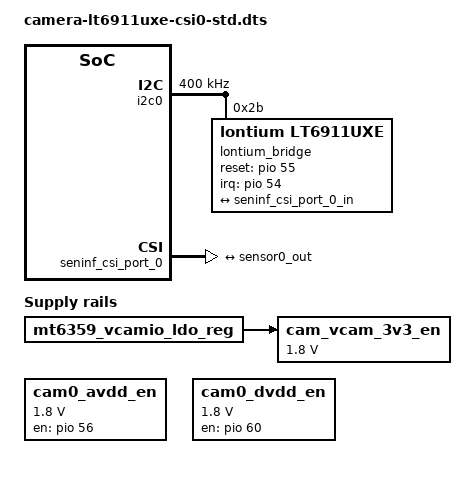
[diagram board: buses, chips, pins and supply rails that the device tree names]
// SPDX-License-Identifier: GPL-2.0
/*
 * Copyright (c) 2024 MediaTek Inc.
 *
 */

#include <dt-bindings/clock/mt8195-clk.h>
#include <dt-bindings/gpio/gpio.h>
#include <dt-bindings/pinctrl/mt8195-pinfunc.h>
#include <dt-bindings/interrupt-controller/irq.h>

/dts-v1/;
/plugin/;

#include "isp70.dtsi"

#include "isp70.dtsi"

/ {
	fragment@3 {
		target-path = "/";
		__overlay__ {
			cam0_avdd_en: cam0-avdd-en-regulator {
				compatible = "regulator-fixed";
				regulator-name = "cam0_avdd_en";
				regulator-min-microvolt = <1800000>;
				regulator-max-microvolt = <1800000>;
				gpio = <&pio 56 0>;
				startup-delay-us = <18000>;
				enable-active-high;
				regulator-always-on;
				pinctrl-names = "default";
				pinctrl-0 = <&cam0_avdd_en_pins>;
			};

			cam0_dvdd_en: cam0-dvdd-en-regulator {
				compatible = "regulator-fixed";
				regulator-name = "cam0_dvdd_en";
				regulator-min-microvolt = <1800000>;
				regulator-max-microvolt = <1800000>;
				gpio = <&pio 60 0>;
				startup-delay-us = <18000>;
				enable-active-high;
				regulator-always-on;
				pinctrl-names = "default";
				pinctrl-0 = <&cam0_dvdd_en_pins>;
			};

			cam_vcam_3v3_en: cam-vcam-3v3-en-regulator {
				compatible = "regulator-fixed";
				regulator-name = "cam_vcam_3v3_en";
				regulator-min-microvolt = <1800000>;
				regulator-max-microvolt = <1800000>;
				vin-supply = <&mt6359_vcamio_ldo_reg>;
				enable-active-high;
				regulator-always-on;
			};
		};
	};

	fragment@4 {
		target = <&pio>;
		__overlay__ {
			cam0_pins_default: cam0_pins_default {
				pins_cmd_dat {
					pinmux = <PINMUX_GPIO54__FUNC_GPIO54>,
						 <PINMUX_GPIO55__FUNC_GPIO55>;
				};
			};

			cam0_avdd_en_pins: cam0-avdd-en-pins {
				pins_cmd_dat {
					pinmux = <PINMUX_GPIO56__FUNC_GPIO56>;
				};
			};

			cam0_dvdd_en_pins: cam0-dvdd-en-pins {
				pins_cmd_dat {
					pinmux = <PINMUX_GPIO60__FUNC_GPIO60>;
				};
			};
		};
	};

	fragment@5 {
		target = <&i2c0>;
		__overlay__ {
			clock-frequency = <400000>;

			lontium_bridge: lt6911uxe@2b {
				compatible = "lontium,lt6911uxe";
				reg = <0x2b>;
				status = "okay";

				pinctrl-names = "default";
				pinctrl-0 = <&cam0_pins_default>;

				interrupt-parent = <&pio>;
				interrupts = <54 IRQ_TYPE_LEVEL_HIGH>;

				reset-gpio = <&pio 55 GPIO_ACTIVE_HIGH>;

				port {
					sensor0_out: endpoint {
						remote-endpoint = <&seninf_csi_port_0_in>;
						data-lanes = <1 2 3 4>;
						link-frequencies = /bits/ 64 <480000000>;
					};
				};
			};
		};
	};

	fragment@6 {
		target = <&seninf_csi_port_0>;
		__overlay__ {
			status = "okay";
			hs_trail_parameter = <0x0>;
			port {
				seninf_csi_port_0_in: endpoint {
					data-lanes = <1 2 3 4>;
					remote-endpoint = <&sensor0_out>;
				};
			};
		};
	};

	fragment@7 {
		target = <&imgsys_fw>;
		__overlay__ {
			status = "disabled";
		};
	};

	fragment@8 {
		target = <&hcp>;
		__overlay__ {
			status = "disabled";
		};
	};

	fragment@9 {
		target-path = "/soc/imgsys_larb";
		__overlay__ {
			status = "disabled";
		};
	};

	fragment@10 {
		target = <&ipesys_me>;
		__overlay__ {
			status = "disabled";
		};
	};
};
